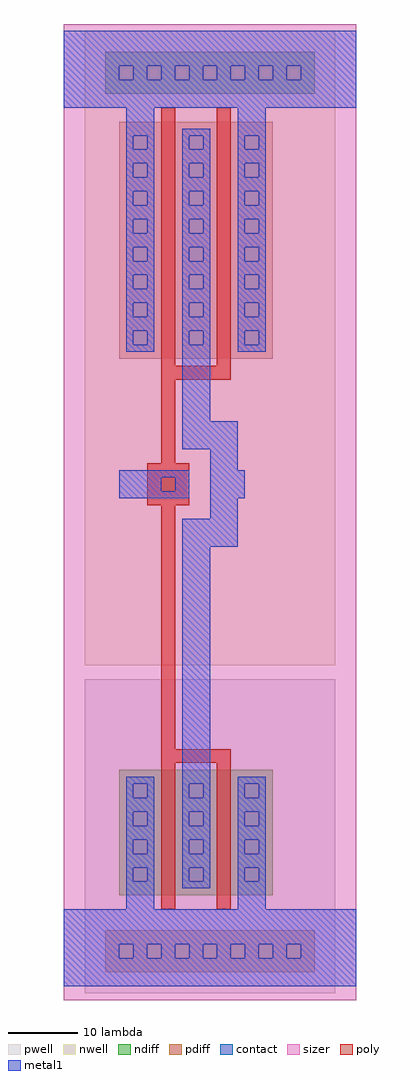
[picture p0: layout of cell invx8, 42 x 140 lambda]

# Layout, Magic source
magic
tech concept
<< sizer >>
rect 0 0 42 140
<< metal1 >>
rect 0 134 42 139
rect 0 132 8 134
rect 10 132 12 134
rect 14 132 16 134
rect 18 132 20 134
rect 22 132 24 134
rect 26 132 28 134
rect 30 132 32 134
rect 34 132 42 134
rect 0 128 42 132
rect 9 124 13 128
rect 25 124 29 128
rect 17 124 21 125
rect 9 122 10 124
rect 12 122 13 124
rect 17 122 18 124
rect 20 122 21 124
rect 25 122 26 124
rect 28 122 29 124
rect 9 120 13 122
rect 17 120 21 122
rect 25 120 29 122
rect 9 118 10 120
rect 12 118 13 120
rect 17 118 18 120
rect 20 118 21 120
rect 25 118 26 120
rect 28 118 29 120
rect 9 116 13 118
rect 17 116 21 118
rect 25 116 29 118
rect 9 114 10 116
rect 12 114 13 116
rect 17 114 18 116
rect 20 114 21 116
rect 25 114 26 116
rect 28 114 29 116
rect 9 112 13 114
rect 17 112 21 114
rect 25 112 29 114
rect 9 110 10 112
rect 12 110 13 112
rect 17 110 18 112
rect 20 110 21 112
rect 25 110 26 112
rect 28 110 29 112
rect 9 108 13 110
rect 17 108 21 110
rect 25 108 29 110
rect 9 106 10 108
rect 12 106 13 108
rect 17 106 18 108
rect 20 106 21 108
rect 25 106 26 108
rect 28 106 29 108
rect 9 104 13 106
rect 17 104 21 106
rect 25 104 29 106
rect 9 102 10 104
rect 12 102 13 104
rect 17 102 18 104
rect 20 102 21 104
rect 25 102 26 104
rect 28 102 29 104
rect 9 100 13 102
rect 17 100 21 102
rect 25 100 29 102
rect 9 98 10 100
rect 12 98 13 100
rect 17 98 18 100
rect 20 98 21 100
rect 25 98 26 100
rect 28 98 29 100
rect 9 96 13 98
rect 17 96 21 98
rect 25 96 29 98
rect 9 94 10 96
rect 12 94 13 96
rect 17 94 18 96
rect 20 94 21 96
rect 25 94 26 96
rect 28 94 29 96
rect 9 93 13 94
rect 17 83 21 94
rect 25 93 29 94
rect 17 79 25 83
rect 21 76 25 79
rect 8 75 18 76
rect 21 72 26 76
rect 8 73 14 75
rect 16 73 18 75
rect 8 72 18 73
rect 21 69 25 72
rect 17 65 25 69
rect 17 31 21 65
rect 9 31 13 32
rect 25 31 29 32
rect 9 29 10 31
rect 12 29 13 31
rect 17 29 18 31
rect 20 29 21 31
rect 25 29 26 31
rect 28 29 29 31
rect 9 27 13 29
rect 17 27 21 29
rect 25 27 29 29
rect 9 25 10 27
rect 12 25 13 27
rect 17 25 18 27
rect 20 25 21 27
rect 25 25 26 27
rect 28 25 29 27
rect 9 23 13 25
rect 17 23 21 25
rect 25 23 29 25
rect 9 21 10 23
rect 12 21 13 23
rect 17 21 18 23
rect 20 21 21 23
rect 25 21 26 23
rect 28 21 29 23
rect 9 19 13 21
rect 17 19 21 21
rect 25 19 29 21
rect 9 17 10 19
rect 12 17 13 19
rect 17 17 18 19
rect 20 17 21 19
rect 25 17 26 19
rect 28 17 29 19
rect 9 13 13 17
rect 17 16 21 17
rect 25 13 29 17
rect 0 8 42 13
rect 0 6 8 8
rect 10 6 12 8
rect 14 6 16 8
rect 18 6 20 8
rect 22 6 24 8
rect 26 6 28 8
rect 30 6 32 8
rect 34 6 42 8
rect 0 2 42 6
<< contact >>
rect 8 132 10 134
rect 12 132 14 134
rect 16 132 18 134
rect 20 132 22 134
rect 24 132 26 134
rect 28 132 30 134
rect 32 132 34 134
rect 10 122 12 124
rect 18 122 20 124
rect 26 122 28 124
rect 10 118 12 120
rect 18 118 20 120
rect 26 118 28 120
rect 10 114 12 116
rect 18 114 20 116
rect 26 114 28 116
rect 10 110 12 112
rect 18 110 20 112
rect 26 110 28 112
rect 10 106 12 108
rect 18 106 20 108
rect 26 106 28 108
rect 10 102 12 104
rect 18 102 20 104
rect 26 102 28 104
rect 10 98 12 100
rect 18 98 20 100
rect 26 98 28 100
rect 10 94 12 96
rect 18 94 20 96
rect 26 94 28 96
rect 14 73 16 75
rect 10 29 12 31
rect 18 29 20 31
rect 26 29 28 31
rect 10 25 12 27
rect 18 25 20 27
rect 26 25 28 27
rect 10 21 12 23
rect 18 21 20 23
rect 26 21 28 23
rect 10 17 12 19
rect 18 17 20 19
rect 26 17 28 19
rect 8 6 10 8
rect 12 6 14 8
rect 16 6 18 8
rect 20 6 22 8
rect 24 6 26 8
rect 28 6 30 8
rect 32 6 34 8
<< poly >>
rect 14 91 16 128
rect 22 91 24 128
rect 14 89 24 91
rect 14 77 16 89
rect 12 71 18 77
rect 14 36 16 71
rect 14 34 24 36
rect 14 13 16 34
rect 22 13 24 34
<< ndiff >>
rect 6 130 36 136
rect 8 15 30 33
<< pdiff >>
rect 8 92 30 126
rect 6 4 36 10
<< nwell >>
rect 3 48 39 139
<< pwell >>
rect 3 1 39 46
<< end >>
